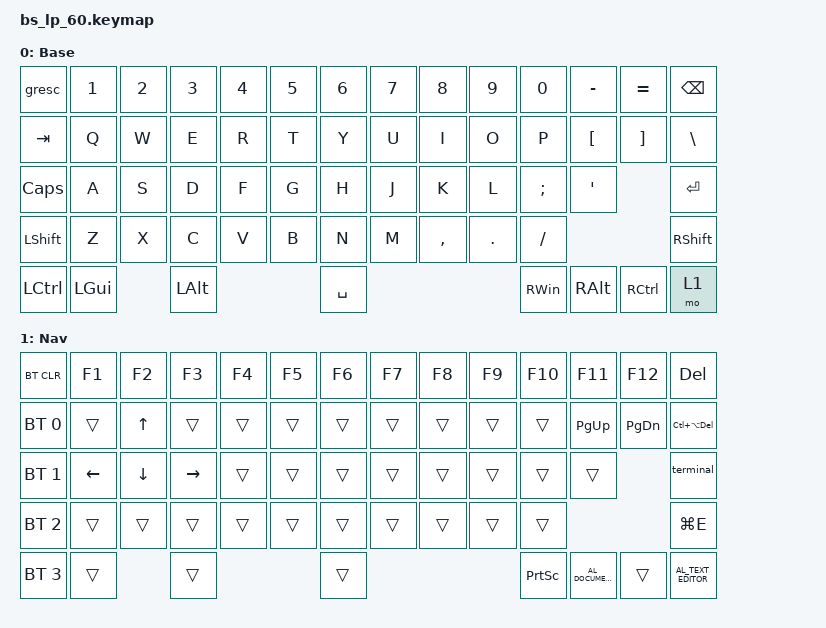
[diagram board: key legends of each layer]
/*
 * Copyright (c) 2021 Cole Smith
 *
 * SPDX-License-Identifier: MIT
 */

#include <dt-bindings/zmk/reset.h>
#include <behaviors.dtsi>
#include <dt-bindings/zmk/bt.h>
#include <dt-bindings/zmk/keys.h>

#define BAS_L 0
#define NAV_L 1

/ {
    macros {
        terminal_: terminal_ {
            compatible = "zmk,behavior-macro";
            #binding-cells = <0>;
            bindings = <&kp LG(X)>, <&macro_wait_time 2>, <&kp I>;

            label = "TERMINAL_";
        };
    };

    keymap {
        compatible = "zmk,keymap";

        default_layer {
            // ------------------------------------------------------------------------------------------
            // | ESC |  1  |  2  |  3  |  4  |  5  |  6  |  7  |  8  |  9  |  0  |  -  |  =  |   BKSP   |
            // | TAB  |  Q  |  W  |  E  |  R  |  T  |  Y  |  U  |  I  |  O  |  P  |  [  |  ]  |   "|"   |
            // | CAPS  |  A  |  S  |  D  |  F  |  G  |  H  |  J  |  K  |  L  |  ;  |  '  |     ENTER    |
            // |  SHIFT  |  Z  |  X  |  C  |  V  |  B  |  N  |  M  |  ,  |  .  |  /  |      SHIFT       |
            // |  CTL  |  WIN  |  ALT  |            SPACE              |  ALT  |  WIN  |  MO(1) |  CTL  |
            // ------------------------------------------------------------------------------------------

            label = "Base";
            bindings = <
&gresc     &kp N1    &kp N2  &kp N3    &kp N4  &kp N5  &kp N6     &kp N7  &kp N8     &kp N9   &kp N0         &kp MINUS      &kp EQUAL  &kp BSPC
&kp TAB    &kp Q     &kp W   &kp E     &kp R   &kp T   &kp Y      &kp U   &kp I      &kp O    &kp P          &kp LBKT       &kp RBKT   &kp BSLH
&kp CLCK   &kp A     &kp S   &kp D     &kp F   &kp G   &kp H      &kp J   &kp K      &kp L    &kp SEMI       &kp SQT                   &kp RET
&kp LSHFT  &kp Z     &kp X   &kp C     &kp V   &kp B   &kp N      &kp M   &kp COMMA  &kp DOT  &kp FSLH                                 &kp RSHFT
&kp LCTRL  &kp LGUI          &kp LALT                  &kp SPACE                              &kp RIGHT_WIN  &kp RIGHT_ALT  &kp RCTRL  &mo 1
            >;
        };

        ble_layer {
            // ------------------------------------------------------------------------------------------------
            // | BT CLR | F1  | F2  | F3  | F4  | F5  | F6  | F7  | F8  | F9  | F10  | F11 | F12 |            |
            // |  BT 1   |   |  UP |   |       |       |       |       |   |     |    |     |     |           |
            // |   BT 2   | LT |  DN  | RT |       |       |       |       |   |     |   |     |              |
            // |    BT 3     |     |      |      |     |     |     |     |     |     |     |                  |
            // |   BT 4  |      |      |                                    | PRT SCR |       |       |  DEL  |
            // ------------------------------------------------------------------------------------------------

            label = "Nav";
            bindings = <
&bt BT_CLR    &kp F1    &kp F2    &kp F3     &kp F4  &kp F5  &kp F6  &kp F7  &kp F8  &kp F9  &kp F10    &kp F11             &kp F12    &kp DEL
&bt BT_SEL 0  &trans    &kp UP    &trans     &trans  &trans  &trans  &trans  &trans  &trans  &trans     &kp PG_UP           &kp PG_DN  &kp LC(LA(DEL))
&bt BT_SEL 1  &kp LEFT  &kp DOWN  &kp RIGHT  &trans  &trans  &trans  &trans  &trans  &trans  &trans     &trans                         &terminal_
&bt BT_SEL 2  &trans    &trans    &trans     &trans  &trans  &trans  &trans  &trans  &trans  &trans                                    &kp LG(E)
&bt BT_SEL 3  &trans              &trans                     &trans                          &kp PSCRN  &kp C_AL_DOCUMENTS  &trans     &kp C_AL_TEXT_EDITOR
            >;
        };
    };
};
